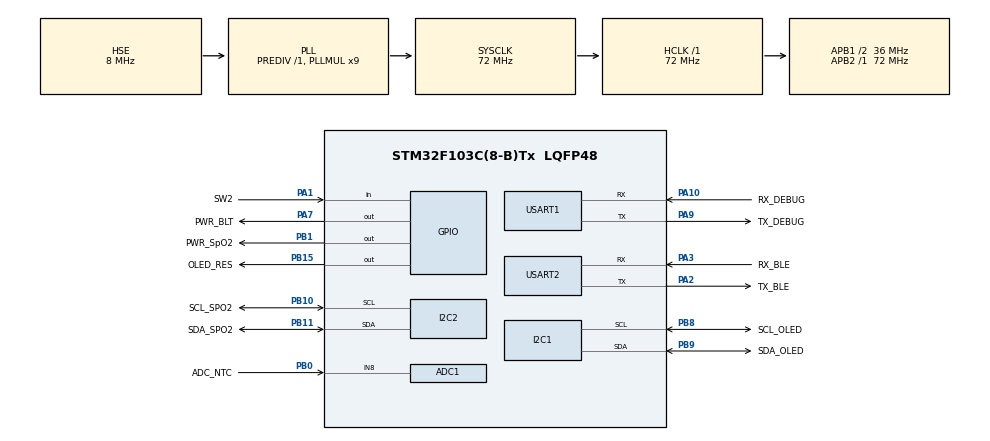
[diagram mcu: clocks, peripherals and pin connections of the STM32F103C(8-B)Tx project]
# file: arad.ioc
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ADC1.Channel-0\#ChannelRegularConversion=ADC_CHANNEL_8
ADC1.NbrOfConversion=1
ADC1.NbrOfConversionFlag=1
ADC1.Rank-0\#ChannelRegularConversion=1
ADC1.SamplingTime-0\#ChannelRegularConversion=ADC_SAMPLETIME_239CYCLES_5
ADC1.master=1
I2C1.I2C_Mode=I2C_Fast
I2C2.I2C_Mode=I2C_Fast
I2C2.NoStretchMode=I2C_NOSTRETCH_DISABLE
Mcu.Family=STM32F1
Mcu.Name=STM32F103C(8-B)Tx
Mcu.Package=LQFP48
NVIC.PriorityGroup=NVIC_PRIORITYGROUP_4
NVIC.TIM1_UP_IRQn=true\:0\:0\:false\:false\:true\:false\:true
NVIC.TimeBase=TIM1_UP_IRQn
NVIC.TimeBaseIP=TIM1
PA0-WKUP.GPIO_Label=SW1
PA0-WKUP.Mode=SYS_WakeUp0
PA0-WKUP.Signal=SYS_WKUP
PA1.GPIO_Label=SW2
PA1.Signal=GPIO_Input
PA10.GPIO_Label=RX_DEBUG
PA10.Mode=Asynchronous
PA10.Signal=USART1_RX
PA13.Mode=Serial_Wire
PA13.Signal=SYS_JTMS-SWDIO
PA14.Mode=Serial_Wire
PA14.Signal=SYS_JTCK-SWCLK
PA2.GPIO_Label=TX_BLE
PA2.Mode=Asynchronous
PA2.Signal=USART2_TX
PA3.GPIO_Label=RX_BLE
PA3.Mode=Asynchronous
PA3.Signal=USART2_RX
PA7.GPIO_Label=PWR_BLT
PA7.PinState=GPIO_PIN_SET
PA7.Signal=GPIO_Output
PA9.GPIO_Label=TX_DEBUG
PA9.Mode=Asynchronous
PA9.Signal=USART1_TX
PB0.GPIO_Label=ADC_NTC
PB0.Signal=ADCx_IN8
PB1.GPIO_Label=PWR_SpO2
PB1.PinState=GPIO_PIN_SET
PB1.Signal=GPIO_Output
PB10.GPIO_Label=SCL_SPO2
PB10.Mode=I2C
PB10.Signal=I2C2_SCL
PB11.GPIO_Label=SDA_SPO2
PB11.Mode=I2C
PB11.Signal=I2C2_SDA
PB15.GPIO_Label=OLED_RES
PB15.PinState=GPIO_PIN_SET
PB15.Signal=GPIO_Output
PB8.GPIO_Label=SCL_OLED
PB8.Mode=I2C
PB8.Signal=I2C1_SCL
PB9.GPIO_Label=SDA_OLED
PB9.Mode=I2C
PB9.Signal=I2C1_SDA
PD0-OSC_IN.Mode=HSE-External-Oscillator
PD0-OSC_IN.Signal=RCC_OSC_IN
PD1-OSC_OUT.Mode=HSE-External-Oscillator
PD1-OSC_OUT.Signal=RCC_OSC_OUT
ProjectManager.HeapSize=0x200
ProjectManager.StackSize=0x400
ProjectManager.TargetToolchain=Makefile
RCC.ADCPresc=RCC_ADCPCLK2_DIV6
RCC.AHBFreq_Value=72000000
RCC.APB1CLKDivider=RCC_HCLK_DIV2
RCC.APB1Freq_Value=36000000
RCC.APB1TimFreq_Value=72000000
RCC.APB2Freq_Value=72000000
RCC.APB2TimFreq_Value=72000000
RCC.HCLKFreq_Value=72000000
RCC.PLLMUL=RCC_PLL_MUL9
RCC.PLLSourceVirtual=RCC_PLLSOURCE_HSE
RCC.SYSCLKFreq_VALUE=72000000
RCC.SYSCLKSource=RCC_SYSCLKSOURCE_PLLCLK
RCC.USBFreq_Value=48000000
RCC.USBPrescaler=RCC_USBCLKSOURCE_PLL_DIV1_5
SH.ADCx_IN8.0=ADC1_IN8,IN8
USART1.VirtualMode=VM_ASYNC
USART2.VirtualMode=VM_ASYNC
VP_SYS_VS_tim1.Mode=TIM1
board=custom

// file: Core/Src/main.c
/* USER CODE BEGIN Header */
/**
	******************************************************************************
	* @file           : main.c
	* @brief          : Main program body
	******************************************************************************
	* @attention
	*
	* <h2><center>&copy; Copyright (c) 2020 STMicroelectronics.
	* All rights reserved.</center></h2>
	*
	* This software component is licensed by ST under BSD 3-Clause license,
	* the "License"; You may not use this file except in compliance with the
	* License. You may obtain a copy of the License at:
	*                        opensource.org/licenses/BSD-3-Clause
	*
	******************************************************************************
	*/
/* USER CODE END Header */
#include "main.h"

/* USER CODE BEGIN Includes */
#include "string.h"
#include "max30100/max30100.h"
#include "mpu6050/mpu6050.h"
#include "ssd1306/ssd1306.h"
#include "stdio.h"
/* USER CODE END Includes */

/* USER CODE BEGIN PD */
#define PUTCHAR_PROTOTYPE int __io_putchar(int ch)
/* USER CODE END PD */

ADC_HandleTypeDef hadc1;

I2C_HandleTypeDef hi2c1;
I2C_HandleTypeDef hi2c2;

UART_HandleTypeDef huart1;
UART_HandleTypeDef huart2;

/* USER CODE BEGIN PV */
MPU6050_t MPU6050;
/* USER CODE END PV */

void SystemClock_Config(void);
static void MX_GPIO_Init(void);
static void MX_I2C1_Init(void);
static void MX_USART1_UART_Init(void);
static void MX_I2C2_Init(void);
static void MX_USART2_UART_Init(void);
static void MX_ADC1_Init(void);

int main(void)
{

  /* MCU Configuration--------------------------------------------------------*/

  /* Reset of all peripherals, Initializes the Flash interface and the Systick. */
  HAL_Init();

  /* Configure the system clock */
  SystemClock_Config();

  /* Initialize all configured peripherals */
  MX_GPIO_Init();
  MX_I2C1_Init();
  MX_USART1_UART_Init();
  MX_I2C2_Init();
  MX_USART2_UART_Init();
  MX_ADC1_Init();
  /* USER CODE BEGIN 2 */

  HAL_ADCEx_Calibration_Start(&hadc1);

	ssd1306_Init();
	ssd1306_WriteString("Init Done!", Font_16x26, White);
	ssd1306_UpdateScreen();

	while(MPU6050_Init(&hi2c1) == 1);

	MAX30100_Init(&hi2c2, &huart2);
	MAX30100_SetSpO2SampleRate(MAX30100_SPO2SR_100);
	MAX30100_SetLEDPulseWidth(MAX30100_LEDPW_DEFAULT);
	MAX30100_SetLEDCurrent(MAX30100_LEDCURRENT_DEFAULT, MAX30100_LEDCURRENT_DEFAULT);
	MAX30100_SetMode(MAX30100_SPO2_MODE);
  MAX30100_SetHiRes(true);
  HAL_Delay(10);

	int adcount = 0;
	uint32_t ntcavg = 0 , adctemp = 0;
  /* USER CODE END 2 */

  /* Infinite loop */
  /* USER CODE BEGIN WHILE */
	while (1)
	{
    //HAL_Delay(30);
		HAL_ADC_Start(&hadc1);
		HAL_ADC_PollForConversion(&hadc1, 1);
		adcount++;
		uint16_t ntc = HAL_ADC_GetValue(&hadc1);
		adctemp += ntc - 620;
		if(adcount >= 25)
		{
			ntcavg = adctemp/adcount;
			adcount = 0;
			adctemp = 0;
		}
		/*printf("-------------------------------------------------------------------------------------\r\n");
		printf("                                   NTC9700                                           \r\n");
		printf("-------------------------------------------------------------------------------------\r\n");
		printf("NTC Raw : %u\r\n" , ntc);*/
		MPU6050_Read_Accel(&hi2c1, &MPU6050);
		/*printf("-------------------------------------------------------------------------------------\r\n");
		printf("                                   MPU6050                                           \r\n");
		printf("-------------------------------------------------------------------------------------\r\n");*/
		printf("Accel Raw : %u\t%u\t%u\r\n" , MPU6050.Accel_X_RAW , MPU6050.Accel_Y_RAW , MPU6050.Accel_Z_RAW);

		/*printf("-------------------------------------------------------------------------------------\r\n");
		printf("                                  MAX30100                                           \r\n");
		printf("-------------------------------------------------------------------------------------\r\n");*/
		MAX30100_PlotBothToUART(&huart2 , _max30100_red_sample , _max30100_ir_sample , MAX30100_ReadFIFO());
		char red[10] , ir[10] , mpus[3][6] , ntcs[15];
		sprintf(red   , "R:%u" , _max30100_red_sample[0]);
		sprintf(ir    , "I:%u" ,  _max30100_ir_sample[0]);
		sprintf(mpus[0]  , "%.2f", MPU6050.Ax);
		sprintf(mpus[1]  , "%.2f", MPU6050.Ay);
		sprintf(mpus[2]  , "%.2f", MPU6050.Az);
		sprintf(ntcs  , "ntc:%.1fC" ,  (ntcavg * 330)/4095.0);
		ssd1306_Fill(Black);
		ssd1306_SetCursor(0  ,  0);
		ssd1306_WriteString(red, Font_11x18, White);
		ssd1306_SetCursor(0  , 16);
		ssd1306_WriteString(ir , Font_11x18, White);
		ssd1306_SetCursor(0  , 32);
		ssd1306_WriteString(ntcs , Font_11x18, White);
		ssd1306_SetCursor(2  , 52);
		ssd1306_WriteString(mpus[0] , Font_7x10, White);
		ssd1306_SetCursor(42 , 52);
		ssd1306_WriteString(mpus[1] , Font_7x10, White);
		ssd1306_SetCursor(86 , 52);
		ssd1306_WriteString(mpus[2] , Font_7x10, White);
		ssd1306_UpdateScreen();
		/*printf("Scanning I2C bus:\r\n");
		HAL_StatusTypeDef result1;
		HAL_StatusTypeDef result2;
		uint8_t i;
		for (i=1; i<128; i++)
		{
			result1 = HAL_I2C_IsDeviceReady(&hi2c1, (uint16_t)(i<<1), 2, 2);
			result2 = HAL_I2C_IsDeviceReady(&hi2c2, (uint16_t)(i<<1), 2, 2);
			if (result1 != HAL_OK || result2 != HAL_OK) // HAL_ERROR or HAL_BUSY or HAL_TIMEOUT
			{
				printf("."); // No ACK received at that address
			}
			if (result1 == HAL_OK || result2 == HAL_OK)
			{
				printf("0x%X", i); // Received an ACK at that address
			}
		}
		printf("\r\n");*/

    /* USER CODE END WHILE */

	}
}

void SystemClock_Config(void)
{
  RCC_OscInitTypeDef RCC_OscInitStruct = {0};
  RCC_ClkInitTypeDef RCC_ClkInitStruct = {0};
  RCC_PeriphCLKInitTypeDef PeriphClkInit = {0};

  /** Initializes the RCC Oscillators according to the specified parameters
  * in the RCC_OscInitTypeDef structure.
  */
  RCC_OscInitStruct.OscillatorType = RCC_OSCILLATORTYPE_HSE;
  RCC_OscInitStruct.HSEState = RCC_HSE_ON;
  RCC_OscInitStruct.HSEPredivValue = RCC_HSE_PREDIV_DIV1;
  RCC_OscInitStruct.HSIState = RCC_HSI_ON;
  RCC_OscInitStruct.PLL.PLLState = RCC_PLL_ON;
  RCC_OscInitStruct.PLL.PLLSource = RCC_PLLSOURCE_HSE;
  RCC_OscInitStruct.PLL.PLLMUL = RCC_PLL_MUL9;
  if (HAL_RCC_OscConfig(&RCC_OscInitStruct) != HAL_OK)
  {
    Error_Handler();
  }
  /** Initializes the CPU, AHB and APB buses clocks
  */
  RCC_ClkInitStruct.ClockType = RCC_CLOCKTYPE_HCLK|RCC_CLOCKTYPE_SYSCLK
                              |RCC_CLOCKTYPE_PCLK1|RCC_CLOCKTYPE_PCLK2;
  RCC_ClkInitStruct.SYSCLKSource = RCC_SYSCLKSOURCE_PLLCLK;
  RCC_ClkInitStruct.AHBCLKDivider = RCC_SYSCLK_DIV1;
  RCC_ClkInitStruct.APB1CLKDivider = RCC_HCLK_DIV2;
  RCC_ClkInitStruct.APB2CLKDivider = RCC_HCLK_DIV1;

  if (HAL_RCC_ClockConfig(&RCC_ClkInitStruct, FLASH_LATENCY_2) != HAL_OK)
  {
    Error_Handler();
  }
  PeriphClkInit.PeriphClockSelection = RCC_PERIPHCLK_ADC;
  PeriphClkInit.AdcClockSelection = RCC_ADCPCLK2_DIV6;
  if (HAL_RCCEx_PeriphCLKConfig(&PeriphClkInit) != HAL_OK)
  {
    Error_Handler();
  }
}

static void MX_ADC1_Init(void)
{

  ADC_ChannelConfTypeDef sConfig = {0};

  /** Common config
  */
  hadc1.Instance = ADC1;
  hadc1.Init.ScanConvMode = ADC_SCAN_DISABLE;
  hadc1.Init.ContinuousConvMode = DISABLE;
  hadc1.Init.DiscontinuousConvMode = DISABLE;
  hadc1.Init.ExternalTrigConv = ADC_SOFTWARE_START;
  hadc1.Init.DataAlign = ADC_DATAALIGN_RIGHT;
  hadc1.Init.NbrOfConversion = 1;
  if (HAL_ADC_Init(&hadc1) != HAL_OK)
  {
    Error_Handler();
  }
  /** Configure Regular Channel
  */
  sConfig.Channel = ADC_CHANNEL_8;
  sConfig.Rank = ADC_REGULAR_RANK_1;
  sConfig.SamplingTime = ADC_SAMPLETIME_239CYCLES_5;
  if (HAL_ADC_ConfigChannel(&hadc1, &sConfig) != HAL_OK)
  {
    Error_Handler();
  }

}

static void MX_I2C1_Init(void)
{

  hi2c1.Instance = I2C1;
  hi2c1.Init.ClockSpeed = 400000;
  hi2c1.Init.DutyCycle = I2C_DUTYCYCLE_2;
  hi2c1.Init.OwnAddress1 = 0;
  hi2c1.Init.AddressingMode = I2C_ADDRESSINGMODE_7BIT;
  hi2c1.Init.DualAddressMode = I2C_DUALADDRESS_DISABLE;
  hi2c1.Init.OwnAddress2 = 0;
  hi2c1.Init.GeneralCallMode = I2C_GENERALCALL_DISABLE;
  hi2c1.Init.NoStretchMode = I2C_NOSTRETCH_DISABLE;
  if (HAL_I2C_Init(&hi2c1) != HAL_OK)
  {
    Error_Handler();
  }

}

static void MX_I2C2_Init(void)
{

  hi2c2.Instance = I2C2;
  hi2c2.Init.ClockSpeed = 400000;
  hi2c2.Init.DutyCycle = I2C_DUTYCYCLE_2;
  hi2c2.Init.OwnAddress1 = 0;
  hi2c2.Init.AddressingMode = I2C_ADDRESSINGMODE_7BIT;
  hi2c2.Init.DualAddressMode = I2C_DUALADDRESS_DISABLE;
  hi2c2.Init.OwnAddress2 = 0;
  hi2c2.Init.GeneralCallMode = I2C_GENERALCALL_DISABLE;
  hi2c2.Init.NoStretchMode = I2C_NOSTRETCH_DISABLE;
  if (HAL_I2C_Init(&hi2c2) != HAL_OK)
  {
    Error_Handler();
  }

}

static void MX_USART1_UART_Init(void)
{

  huart1.Instance = USART1;
  huart1.Init.BaudRate = 115200;
  huart1.Init.WordLength = UART_WORDLENGTH_8B;
  huart1.Init.StopBits = UART_STOPBITS_1;
  huart1.Init.Parity = UART_PARITY_NONE;
  huart1.Init.Mode = UART_MODE_TX_RX;
  huart1.Init.HwFlowCtl = UART_HWCONTROL_NONE;
  huart1.Init.OverSampling = UART_OVERSAMPLING_16;
  if (HAL_UART_Init(&huart1) != HAL_OK)
  {
    Error_Handler();
  }

}

static void MX_USART2_UART_Init(void)
{

  huart2.Instance = USART2;
  huart2.Init.BaudRate = 115200;
  huart2.Init.WordLength = UART_WORDLENGTH_8B;
  huart2.Init.StopBits = UART_STOPBITS_1;
  huart2.Init.Parity = UART_PARITY_NONE;
  huart2.Init.Mode = UART_MODE_TX_RX;
  huart2.Init.HwFlowCtl = UART_HWCONTROL_NONE;
  huart2.Init.OverSampling = UART_OVERSAMPLING_16;
  if (HAL_UART_Init(&huart2) != HAL_OK)
  {
    Error_Handler();
  }

}

static void MX_GPIO_Init(void)
{
  GPIO_InitTypeDef GPIO_InitStruct = {0};

  /* GPIO Ports Clock Enable */
  __HAL_RCC_GPIOD_CLK_ENABLE();
  __HAL_RCC_GPIOA_CLK_ENABLE();
  __HAL_RCC_GPIOB_CLK_ENABLE();

  /*Configure GPIO pin Output Level */
  HAL_GPIO_WritePin(PWR_BLT_GPIO_Port, PWR_BLT_Pin, GPIO_PIN_SET);

  /*Configure GPIO pin Output Level */
  HAL_GPIO_WritePin(GPIOB, PWR_SpO2_Pin|OLED_RES_Pin, GPIO_PIN_SET);

  /*Configure GPIO pin : SW2_Pin */
  GPIO_InitStruct.Pin = SW2_Pin;
  GPIO_InitStruct.Mode = GPIO_MODE_INPUT;
  GPIO_InitStruct.Pull = GPIO_NOPULL;
  HAL_GPIO_Init(SW2_GPIO_Port, &GPIO_InitStruct);

  /*Configure GPIO pin : PWR_BLT_Pin */
  GPIO_InitStruct.Pin = PWR_BLT_Pin;
  GPIO_InitStruct.Mode = GPIO_MODE_OUTPUT_PP;
  GPIO_InitStruct.Pull = GPIO_NOPULL;
  GPIO_InitStruct.Speed = GPIO_SPEED_FREQ_LOW;
  HAL_GPIO_Init(PWR_BLT_GPIO_Port, &GPIO_InitStruct);

  /*Configure GPIO pins : PWR_SpO2_Pin OLED_RES_Pin */
  GPIO_InitStruct.Pin = PWR_SpO2_Pin|OLED_RES_Pin;
  GPIO_InitStruct.Mode = GPIO_MODE_OUTPUT_PP;
  GPIO_InitStruct.Pull = GPIO_NOPULL;
  GPIO_InitStruct.Speed = GPIO_SPEED_FREQ_LOW;
  HAL_GPIO_Init(GPIOB, &GPIO_InitStruct);

}

/* USER CODE BEGIN 4 */
int _write(int fd, char * ptr, int len)
{
	HAL_UART_Transmit(&huart1, (uint8_t *) ptr, len, HAL_MAX_DELAY);
	return len;
}
PUTCHAR_PROTOTYPE
{
	HAL_UART_Transmit(&huart1, (uint8_t *)&ch, 1, HAL_MAX_DELAY);
	return ch;
}
/* USER CODE END 4 */

void HAL_TIM_PeriodElapsedCallback(TIM_HandleTypeDef *htim)
{
  if (htim->Instance == TIM1) {
    HAL_IncTick();
  }
}

void Error_Handler(void)
{
}

/************************ (C) COPYRIGHT STMicroelectronics *****END OF FILE****/
